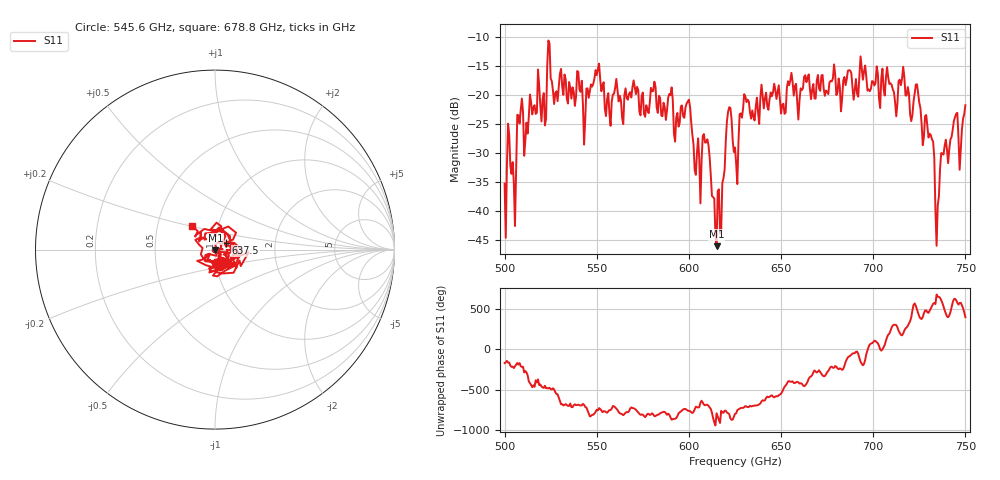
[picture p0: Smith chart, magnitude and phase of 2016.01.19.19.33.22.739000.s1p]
!Created with skrf (http://scikit-rf.org).
# GHz S RI R 50.0
!freq ReS11 ImS11
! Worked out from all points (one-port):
!   401 points, 500 GHz to 750 GHz, reference 50 ohm
!   lowest |S11| = -46.0 dB at 615 GHz (marker M1), VSWR 1.01, Z = 50.2 - j0.469 ohm
!   |S11| at or under -10 dB: start of sweep to end of sweep
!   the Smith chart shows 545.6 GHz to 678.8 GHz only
!   S11 on the Smith chart (normalised r, x): 545.6 GHz: 1.04, -0.19; 637.5 GHz: 1.13, +0.09; 678.8 GHz: 0.75, +0.21
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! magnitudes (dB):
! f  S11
! 500 GHz  -35.2
! 502.5 GHz  -26.8
! 505 GHz  -35.0
! 508.1 GHz  -24.8
! 521.2 GHz  -19.6
! 524.4 GHz  -11.1
! 531.2 GHz  -18.4
! 545.6 GHz  -20.4
! 562.5 GHz  -20.0
! 580.6 GHz  -19.2
! 593.8 GHz  -23.0
! 599.4 GHz  -21.1
! 605 GHz  -27.4
! 609.4 GHz  -28.1
! 615 GHz  -46.0
! 618.1 GHz  -35.1
! 621.9 GHz  -22.0
! 625 GHz  -29.0
! 630.6 GHz  -20.2
! 637.5 GHz  -22.9
! 656.2 GHz  -17.7
! 678.8 GHz  -14.6
! 687.5 GHz  -15.7
! 718.8 GHz  -18.5
! 731.9 GHz  -27.6
! 735 GHz  -38.9
! 738.1 GHz  -30.2
! 750 GHz  -21.7
